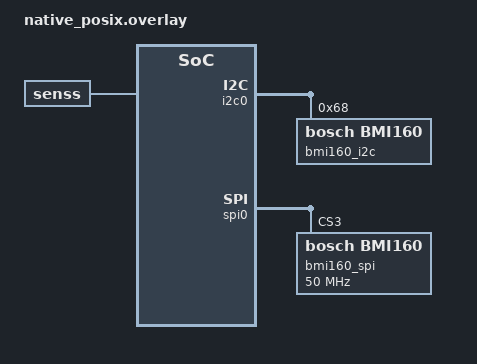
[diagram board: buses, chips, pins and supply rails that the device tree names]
/*
 * Copyright (c) 2023 Intel Corporation
 *
 * SPDX-License-Identifier: Apache-2.0
 */

&i2c0 {
	bmi160_i2c: bmi@68 {
		compatible = "bosch,bmi160";
		reg = <0x68>;
	};
};

&spi0 {
	bmi160_spi: bmi@3 {
		compatible = "bosch,bmi160";
		spi-max-frequency = <50000000>;
		reg = <0x3>;
	};
};

/ {
	senss: senss-node {
		compatible = "zephyr,senss";
		status = "okay";

		base_accel: base-accel {
			compatible = "zephyr,senss-phy-3d-sensor";
			status = "okay";
			sensor-type = <0x73>;
			sensor-index = <0>;
			friendly-name = "Base Accelerometer Sensor";
			minimal-interval = <625>;
			rotation-matrix = <0 1 0
					   1 0 0
					   0 0 (-1)>;
			underlying-device = <&bmi160_i2c>;
		};

		lid_accel: lid-accel {
			compatible = "zephyr,senss-phy-3d-sensor";
			status = "okay";
			sensor-type = <0x73>;
			sensor-index = <1>;
			friendly-name = "Lid Accelerometer Sensor";
			minimal-interval = <625>;
			rotation-matrix = <1 0 0
					   0 1 0
					   0 0 (-1)>;
			underlying-device = <&bmi160_spi>;
		};

		hinge_angle: hinge-angle {
			compatible = "zephyr,senss-hinge-angle";
			status = "okay";
			sensor-type = <0x20B>;
			sensor-index = <0>;
			friendly-name = "Hinge Angle Sensor";
			reporters = <&base_accel &lid_accel>;
			minimal-interval = <100000>;
		};
	};
};
